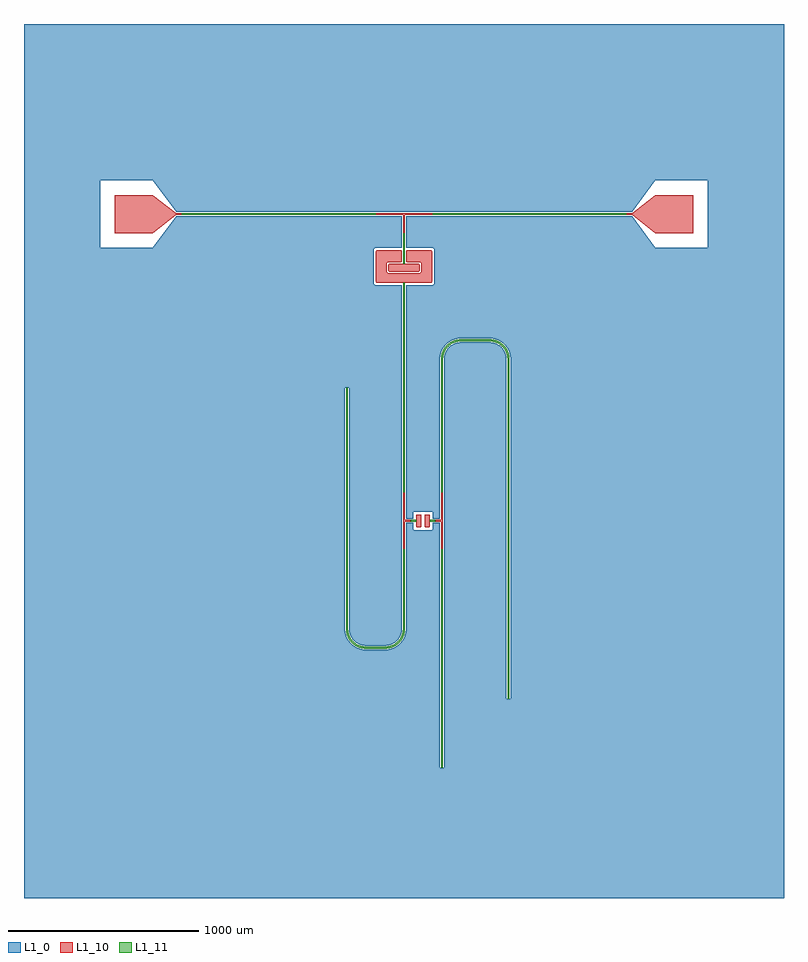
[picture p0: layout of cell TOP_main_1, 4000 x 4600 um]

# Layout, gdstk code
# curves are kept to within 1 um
import gdstk
lib = gdstk.Library(unit=1e-6, precision=1e-09)
def R(c, l, rs):  # rectangles x0, y0, x1, y1
    for r in rs: c.add(gdstk.rectangle(r[:2], r[2:], *l))
def P(c, l, *ps):  # polygons
    for p in ps: c.add(gdstk.Polygon(p, *l))
L1_0 = (1, 0)
L1_10 = (1, 10)
L1_11 = (1, 11)

ground_main_1 = lib.new_cell('ground_main_1')
R(ground_main_1, L1_0, [(211,-2231.029,539,-764), (561,-2231.029,2000,-764), (-2000,-764,-11,-677.96)])
P(ground_main_1, L1_0, [(2000,-2231.029),(561,-2231.029),(561,-2552.34),(539,-2552.34),(539,-2231.029),(211,-2231.029),(211,-2915),(189,-2915),(189,-2231.029),(0.071,-2231.029),(-7.954,-2244.98),(-17.121,-2256.706),(-27.788,-2267.088),(-39.758,-2275.934),(-52.812,-2283.083),(-69.572,-2289.24),(-84.15,-2292.243),(-99,-2293.25),(-203.979,-2293.209),(-218.796,-2291.801),(-233.287,-2288.404),(-252.525,-2280.436),(-272.212,-2267.088),(-288.57,-2249.819),(-300.071,-2231.029),(-2000,-2231.029),(-2000,-3600),(2000,-3600)],
  [(-96.342,-2271.21),(-75.369,-2268.018),(-55.77,-2259.899),(-38.682,-2247.326),(-25.101,-2231.029),(-274.899,-2231.029),(-263.225,-2245.475),(-250.99,-2255.672),(-237.116,-2263.497),(-219.47,-2269.29),(-203.658,-2271.21)],
  [(-23.691,-2228.775),(-14.232,-2206.881),(-11,-2183.25),(-11,-764),(-2000,-764),(-2000,-2231.029),(-300.071,-2231.029),(-308.428,-2206.896),(-311,-2183.25),(-311,-915),(-289,-915),(-289,-2183.25),(-287.04,-2201.719),(-282.301,-2216.926),(-274.899,-2231.029),(-25.101,-2231.029)],
  [(49.5,-1568.5),(51.5,-1566.5),(149.081,-1566.586),(150.5,-1568.5),(150.5,-1604),(189,-1604),(189,-764),(11,-764),(11,-1604),(49.5,-1604)],
  [(189,-1626),(150.5,-1626),(150.49,-1661.696),(148.5,-1663.5),(50.919,-1663.414),(49.5,-1661.5),(49.5,-1626),(11,-1626),(10.96,-2186.228),(7.749,-2209.797),(0.071,-2231.029),(189,-2231.029)],
  [(189.04,-761.021),(192.251,-737.453),(200.454,-715.126),(213.265,-695.084),(230.473,-677.96),(11,-677.96),(11,-764),(189,-764)],
  [(538.96,-761.342),(537.559,-748.138),(534.186,-735.294),(528.92,-723.104),(521.88,-711.846),(511.318,-699.924),(500.99,-691.577),(489.524,-684.88),(477.18,-679.985),(469.47,-677.96),(280.53,-677.96),(265.324,-682.699),(253.474,-688.691),(240.645,-698.131),(231.399,-707.661),(222.351,-720.77),(215.814,-735.294),(212.441,-748.138),(211,-764),(539,-764)],
  [(2000,-677.96),(519.527,-677.96),(536.735,-695.084),(549.546,-715.126),(557.749,-737.453),(561,-764),(2000,-764)],
  [(-1322,176.5),(-1200,11),(1200,11),(1322,176.5),(1598.5,176.5),(1598.5,-176.5),(1322,-176.5),(1200,-11),(11,-11),(11,-178),(148.676,-178.058),(156.776,-182.387),(159.5,-190),(159.5,-363),(156.776,-370.613),(152.092,-374.087),(147.5,-375),(11,-375),(11,-677.96),(230.473,-677.96),(247.475,-666.814),(263.877,-659.758),(281.204,-655.449),(299,-654),(462.893,-654.645),(477.547,-657.251),(491.715,-661.813),(505.138,-668.245),(519.527,-677.96),(2000,-677.96),(2000,1000),(-2000,1000),(-2000,-677.96),(-11,-677.96),(-11,-375),(-148.676,-374.942),(-156.776,-370.613),(-159.5,-363),(-158.587,-185.408),(-154.167,-180.022),(-148.676,-178.058),(-11,-178),(-11,-11),(-1200,-11),(-1322,-176.5),(-1598.5,-176.5),(-1598.5,176.5)],
  [(466.862,-677.441),(458.964,-676.361),(451,-676),(299,-676),(291.036,-676.361),(280.53,-677.96),(469.47,-677.96)])

top_main_1 = lib.new_cell('TOP_main_1')
P(top_main_1, L1_10, [(-1200,5),(-1322,100),(-1522,100),(-1522,-100),(-1322,-100),(-1200,-5),(-1170,-5),(-1170,5),(-1200,5)],
  [(1200,-5),(1322,-100),(1522,-100),(1522,100),(1322,100),(1200,5),(1170,5),(1170,-5),(1200,-5)],
  [(-5,-100),(-5,-5),(-150,-5),(-150,5),(150,5),(150,-5),(5,-5),(5,-100),(-5,-100)],
  [(82.5,-295),(80.157,-300.657),(74.5,-303),(-76.061,-302.846),(-80.157,-300.657),(-82.346,-296.561),(-82.346,-268.439),(-79.575,-263.816),(-74.5,-262),(76.061,-262.154),(80.157,-264.343),(82.346,-268.439)],
  [(11,-311),(-83.284,-310.961),(-88.157,-308.657),(-90.346,-304.561),(-90.461,-261.216),(-86.945,-255.348),(-82.5,-254),(-18.412,-253.971),(-12.465,-250.602),(-11.005,-246.098),(-11.005,-197.902),(-14.083,-191.699),(-19.098,-190),(-139.402,-190),(-145.801,-193.083),(-147.5,-198.098),(-147.5,-354.902),(-144.417,-361.301),(-139.402,-363),(11,-363)],
  [(139.598,-362.995),(145.011,-360.789),(147.495,-355.098),(147.5,-198.098),(146.035,-193.398),(139.402,-190),(19.098,-190),(14.398,-191.465),(11.005,-197.902),(11.005,-246.098),(12.465,-250.602),(18.412,-253.971),(82.5,-254),(86.945,-255.348),(90.461,-261.216),(90.5,-303),(88.157,-308.657),(83.284,-310.961),(11,-311),(11,-363)],
  [(5,-1465),(5,-1610),(35.5,-1610),(35.5,-1620),(5,-1620),(5,-1765),(-5,-1765),(-5,-1465),(5,-1465)],
  [(164.5,-1610),(195,-1610),(195,-1465),(205,-1465),(205,-1765),(195,-1765),(195,-1620),(164.5,-1620),(164.5,-1610)],
  [(67.5,-1647.5),(65.5,-1645.5),(65.586,-1583.919),(67.304,-1582.51),(89.081,-1582.586),(90.5,-1584.5),(90.414,-1646.081),(88.696,-1647.49)],
  [(111.5,-1647.5),(109.5,-1645.5),(109.586,-1583.919),(111.304,-1582.51),(133.081,-1582.586),(134.5,-1584.5),(134.414,-1646.081),(132.696,-1647.49)])
R(top_main_1, L1_11, [(195,-2915,205,-1765), (35.5,-1620,55.5,-1610), (55.5,-1620,65.501,-1610), (134.499,-1620,144.5,-1610), (144.5,-1620,164.5,-1610), (-5,-1465,5,-415), (-5,-415,5,-362.999), (-5,-262.001,5,-150), (-5,-150,5,-100), (-1170,-5,-150,5), (150,-5,1170,5)])
P(top_main_1, L1_11, [(-96.134,-2287.21),(-76.257,-2284.733),(-54.615,-2277.303),(-37.408,-2267.049),(-20.636,-2251.623),(-34.493,-2251.623),(-49.652,-2263.255),(-69.433,-2272.479),(-82.677,-2275.822),(-99,-2277.25),(-214.624,-2276.257),(-227.96,-2273.301),(-240.726,-2268.443),(-252.654,-2261.786),(-265.507,-2251.623),(-279.364,-2251.623),(-267.115,-2263.529),(-253,-2273.316),(-237.466,-2280.647),(-220.938,-2285.321),(-203.866,-2287.21)],
  [(-267.468,-2249.718),(-279.536,-2234.904),(-287.312,-2220.481),(-293.058,-2202.258),(-294.96,-2185.984),(-295,-915),(-305,-915),(-304.961,-2186.115),(-301.076,-2211.549),(-291.067,-2235.25),(-279.364,-2251.623),(-265.507,-2251.623)],
  [(-20.573,-2251.552),(-10.4,-2237.712),(-2.645,-2222.386),(2.483,-2205.993),(4.842,-2188.979),(5,-1765),(-5,-1765),(-5.358,-2191.442),(-8.203,-2207.579),(-13.807,-2222.976),(-23.6,-2239.383),(-34.493,-2251.623)],
  [(205,-764),(206.942,-744.992),(212.688,-726.769),(222,-710.084),(234.493,-695.627),(220.636,-695.627),(210.4,-709.538),(199.742,-732.954),(195.158,-758.271),(195,-1465),(205,-1465)],
  [(555,-764),(551.818,-738.47),(541.067,-712),(529.364,-695.627),(515.507,-695.627),(526.4,-707.867),(536.193,-724.274),(542.466,-742.322),(544.96,-761.266),(545,-2552.34),(555,-2552.34)],
  [(527.515,-693.563),(514.878,-681.929),(500.499,-672.535),(484.769,-665.635),(465.285,-660.986),(299,-660),(276.257,-662.517),(257.224,-668.76),(237.408,-680.2),(220.636,-695.627),(234.493,-695.627),(249.652,-683.995),(269.433,-674.771),(285.376,-670.992),(299,-670),(461.913,-670.636),(477.96,-673.949),(490.726,-678.807),(502.654,-685.464),(515.507,-695.627),(529.364,-695.627)])
top_main_1.add(gdstk.Reference(ground_main_1, (0,0)))

lib.write_gds('TOP_main_1.gds')
